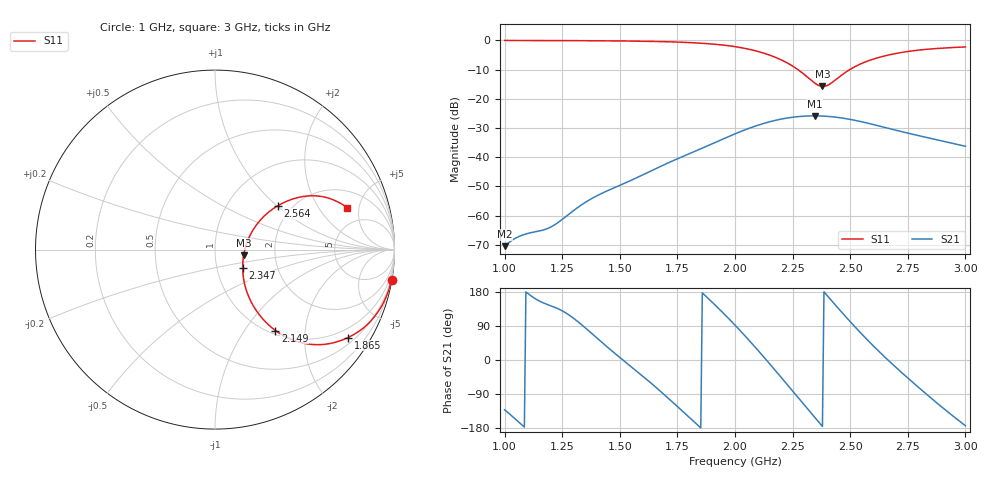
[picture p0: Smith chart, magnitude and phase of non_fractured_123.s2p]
! TOUCHSTONE file generated by CST MICROWAVE STUDIO
! Date and time: Sat Mar  8 13:54:48 2025
! Project name: non_fractured.cst
! Parameters = {B=2.5; D=160; F=15; Feed=2.85625; L=100; M=10; R=0.384908; S=2; Theta=180; length=57.125; wave=114.25}
! Header version: 2024
! Port assignment regex: !\s*Touchstone port\s*([0-9]+)\s*=\s*(CST MWS port|CST DES external port|CST DES block port)\s*(.+)\s* \(\"(.*)\"\)(\s*mode\s*([0-9]+))?.*
! Touchstone port assignment:
! Touchstone port 1 = CST MWS port 1 ("")
! Touchstone port 2 = CST MWS port 2 ("")
# GHz S DB R 50
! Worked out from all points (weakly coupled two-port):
!   304 points, 1 GHz to 3 GHz, reference 50 ohm
!   highest |S21| = -25.85 dB at 2.347 GHz (marker M1); lowest = -70.5 dB at 1 GHz (marker M2)
!   lowest |S11| = -15.8 dB at 2.38 GHz (marker M3), VSWR 1.39, Z = 68.8 - j4.6 ohm
!   |S11| at or under -10 dB: 2.273 GHz to 2.498 GHz (225 MHz wide, 9.43 % of centre)
!   S12 and S22 are empty: the file has one direction only
!   S11 on the Smith chart (normalised r, x): 1 GHz: 0, -12; 1.865 GHz: 0.69, -3.19; 2.149 GHz: 1.06, -1.40; 2.347 GHz: 1.33, -0.28; 2.564 GHz: 1.69, +1.01; 3 GHz: 3.25, +3.77
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1  -0.02 -9.8  -70.47 -131.3  -200.00 0.0  -200.00 0.0
1.033  -0.02 -10.2  -68.43 -148.7  -200.00 0.0  -200.00 0.0
1.06601  -0.03 -10.7  -67.03 -166.7  -200.00 0.0  -200.00 0.0
1.17162  -0.04 -12.2  -64.85 149.8  -200.00 0.0  -200.00 0.0
1.20462  -0.05 -12.8  -63.74 142.1  -200.00 0.0  -200.00 0.0
1.33663  -0.09 -15.2  -56.17 91.9  -200.00 0.0  -200.00 0.0
1.41584  -0.13 -16.9  -52.61 49.9  -200.00 0.0  -200.00 0.0
1.66667  -0.38 -24.2  -43.52 -77.4  -200.00 0.0  -200.00 0.0
1.86469  -1.03 -33.5  -36.67 173.3  -200.00 0.0  -200.00 0.0
2.0033  -2.17 -42.9  -31.90 89.9  -200.00 0.0  -200.00 0.0
2.07591  -3.30 -48.4  -29.68 41.8  -200.00 0.0  -200.00 0.0
2.14851  -4.99 -53.2  -27.90 -8.8  -200.00 0.0  -200.00 0.0
2.24752  -8.66 -55.6  -26.34 -80.0  -200.00 0.0  -200.00 0.0
2.33993  -14.24 -37.2  -25.85 -147.0  -200.00 0.0  -200.00 0.0
2.34653  -14.64 -33.8  -25.85 -151.8  -200.00 0.0  -200.00 0.0
2.37954  -15.78 -11.6  -25.91 -175.4  -200.00 0.0  -200.00 0.0
2.41254  -14.91 11.1  -26.09 161.2  -200.00 0.0  -200.00 0.0
2.47195  -11.37 30.9  -26.67 120.1  -200.00 0.0  -200.00 0.0
2.56436  -7.41 34.9  -28.13 59.5  -200.00 0.0  -200.00 0.0
2.66997  -4.94 31.3  -30.21 -3.5  -200.00 0.0  -200.00 0.0
2.82838  -3.07 23.8  -33.19 -88.9  -200.00 0.0  -200.00 0.0
3  -2.24 17.6  -36.24 -173.3  -200.00 0.0  -200.00 0.0
